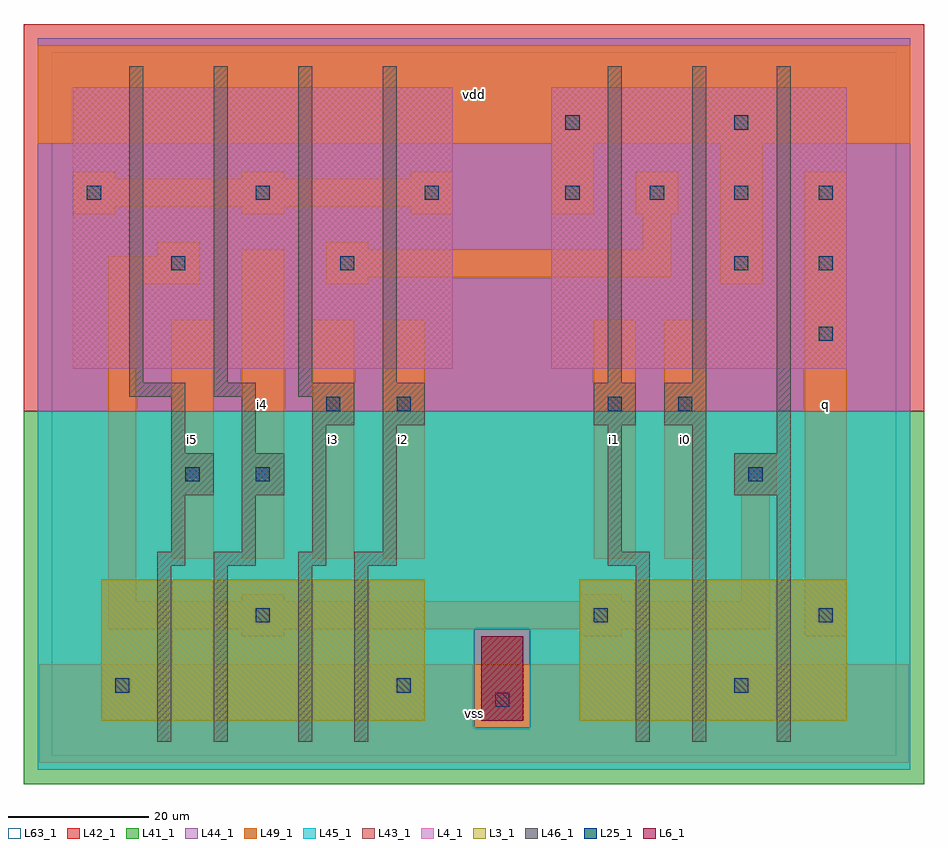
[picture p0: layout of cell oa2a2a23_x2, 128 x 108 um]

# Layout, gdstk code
import gdstk
lib = gdstk.Library(unit=1e-6, precision=1e-09)
def R(c, l, rs):  # rectangles x0, y0, x1, y1
    for r in rs: c.add(gdstk.rectangle(r[:2], r[2:], *l))
def A(c, l, x, y, w, h, nx, ny, dx, dy):  # array of equal rectangles
    R(c, l, [(x+i*dx, y+j*dy, x+i*dx+w, y+j*dy+h) for i in range(nx) for j in range(ny)])
L3_1 = (3, 1)
L4_1 = (4, 1)
L6_1 = (6, 1)
L25_1 = (25, 1)
L41_1 = (41, 1)
L42_1 = (42, 1)
L43_1 = (43, 1)
L44_1 = (44, 1)
L45_1 = (45, 1)
L46_1 = (46, 1)
L49_1 = (49, 1)
L63_1 = (63, 1)

oa2a2a23_x2 = lib.new_cell('oa2a2a23_x2')
R(oa2a2a23_x2, L3_1, [(7,5,53,25), (75,5,113,25)])
R(oa2a2a23_x2, L4_1, [(3,55,57,95), (71,55,113,95)])
R(oa2a2a23_x2, L6_1, [(61,5,67,17)])
A(oa2a2a23_x2, L25_1, 5, 79, 2, 2, 3, 1, 24, 0)
A(oa2a2a23_x2, L25_1, 73, 79, 2, 2, 4, 1, 12, 0)
R(oa2a2a23_x2, L25_1, [(63,7,65,9), (9,9,11,11), (49,9,51,11), (97,9,99,11), (29,19,31,21), (77,19,79,21), (109,19,111,21), (19,39,21,41), (29,39,31,41), (99,39,101,41), (39,49,41,51), (49,49,51,51), (79,49,81,51), (89,49,91,51), (109,59,111,61), (17,69,19,71), (41,69,43,71), (97,69,99,71), (109,69,111,71), (73,89,75,91), (97,89,99,91)])
R(oa2a2a23_x2, L41_1, [(-4,-4,124,49)])
R(oa2a2a23_x2, L42_1, [(-4,49,124,104)])
R(oa2a2a23_x2, L43_1, [(7,5,53,25), (61,5,67,17), (75,5,113,25), (3,55,57,95), (71,55,113,95)])
R(oa2a2a23_x2, L44_1, [(60,4,68,18), (-2,49,122,102)])
R(oa2a2a23_x2, L45_1, [(-2,-2,122,4), (-2,4,60,18), (68,4,122,18), (-2,18,122,49)])
A(oa2a2a23_x2, L46_1, 11, 53, 2, 45, 4, 1, 12, 0)
R(oa2a2a23_x2, L46_1, [(15,2,17,27), (23,2,25,27), (35,2,37,27), (43,2,45,27), (83,2,85,27), (91,2,93,47), (103,2,105,37), (15,27,19,29), (23,27,29,29), (35,27,39,29), (43,27,49,29), (79,27,85,29), (17,29,19,37), (27,29,29,37), (37,29,39,47), (47,29,49,47), (79,29,81,47), (17,37,23,43), (27,37,33,43), (97,37,105,43), (17,43,19,51), (27,43,29,51), (103,43,105,98), (37,47,43,51), (47,47,53,53), (77,47,83,53), (87,47,93,53), (11,51,19,53), (23,51,29,53), (35,51,43,53), (79,53,81,98), (91,53,93,98)])
A(oa2a2a23_x2, L49_1, 3, 77, 6, 1, 3, 2, 24, 5)
R(oa2a2a23_x2, L49_1, [(-2,-1,122,13), (27,17,33,18), (75,17,81,18), (107,17,113,83), (8,18,102,22), (8,22,12,67), (27,22,33,23), (75,22,81,23), (98,22,102,37), (17,28,23,62), (27,28,33,72), (37,28,43,62), (47,28,53,62), (77,28,83,62), (87,28,93,62), (97,37,103,43), (8,67,21,71), (39,67,45,68), (95,67,101,87), (39,68,88,72), (15,71,21,73), (39,72,45,73), (84,72,88,77), (71,77,77,87), (83,77,89,83), (3,78,57,82), (-2,87,122,101)])
R(oa2a2a23_x2, L63_1, [(0,0,120,100)])
oa2a2a23_x2.add(gdstk.Label('i5', (20,45), layer=49, texttype=1))
oa2a2a23_x2.add(gdstk.Label('i5', (20,45), layer=49, texttype=1))
oa2a2a23_x2.add(gdstk.Label('i3', (40,45), layer=49, texttype=1))
oa2a2a23_x2.add(gdstk.Label('i2', (50,45), layer=49, texttype=1))
oa2a2a23_x2.add(gdstk.Label('i2', (50,45), layer=49, texttype=1))
oa2a2a23_x2.add(gdstk.Label('i3', (40,45), layer=49, texttype=1))
oa2a2a23_x2.add(gdstk.Label('i4', (30,50), layer=49, texttype=1))
oa2a2a23_x2.add(gdstk.Label('i4', (30,50), layer=49, texttype=1))
oa2a2a23_x2.add(gdstk.Label('vss', (60,6), layer=49, texttype=1))
oa2a2a23_x2.add(gdstk.Label('vss', (60,6), layer=49, texttype=1))
oa2a2a23_x2.add(gdstk.Label('i1', (80,45), layer=49, texttype=1))
oa2a2a23_x2.add(gdstk.Label('i0', (90,45), layer=49, texttype=1))
oa2a2a23_x2.add(gdstk.Label('i0', (90,45), layer=49, texttype=1))
oa2a2a23_x2.add(gdstk.Label('i1', (80,45), layer=49, texttype=1))
oa2a2a23_x2.add(gdstk.Label('vdd', (60,94), layer=49, texttype=1))
oa2a2a23_x2.add(gdstk.Label('vdd', (60,94), layer=49, texttype=1))
oa2a2a23_x2.add(gdstk.Label('q', (110,50), layer=49, texttype=1))
oa2a2a23_x2.add(gdstk.Label('q', (110,50), layer=49, texttype=1))

lib.write_gds('oa2a2a23_x2.gds')
